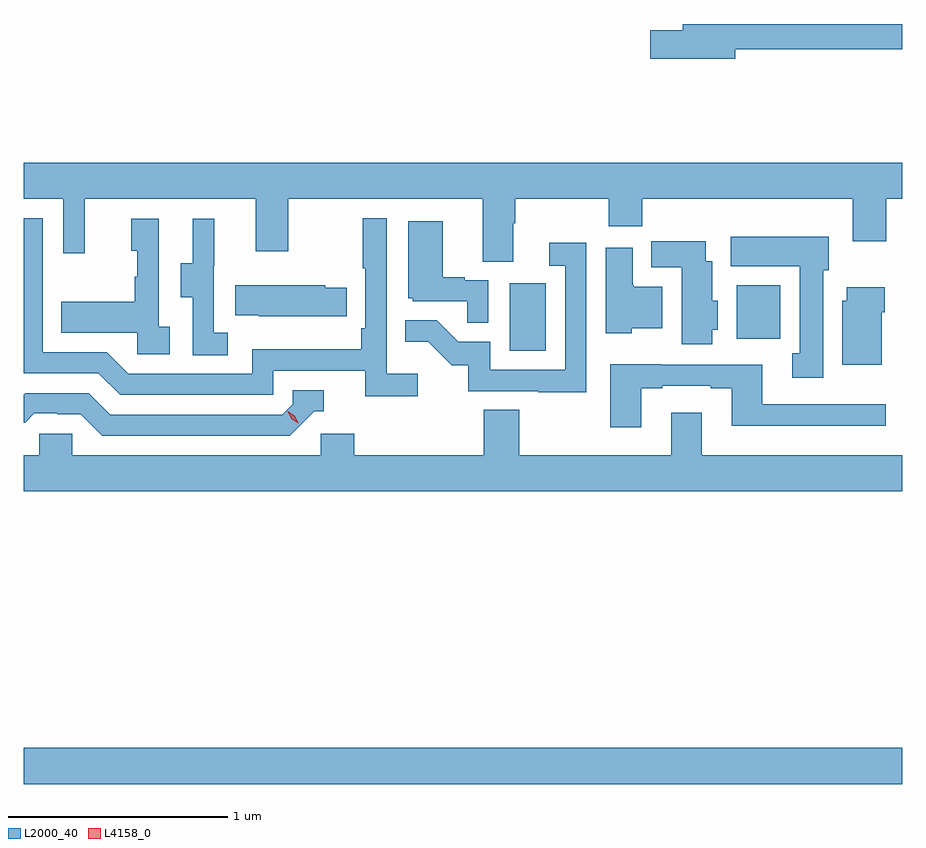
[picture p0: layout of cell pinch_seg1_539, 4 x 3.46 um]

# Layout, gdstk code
import gdstk
lib = gdstk.Library(unit=1e-6, precision=1e-09)
def R(c, l, rs):  # rectangles x0, y0, x1, y1
    for r in rs: c.add(gdstk.rectangle(r[:2], r[2:], *l))
def P(c, l, *ps):  # polygons
    for p in ps: c.add(gdstk.Polygon(p, *l))
L2000_40 = (2000, 40)
L4158_0 = (4158, 0)

pinch_seg1_539 = lib.new_cell('pinch_seg1_539')
R(pinch_seg1_539, L2000_40, [(1031.836,526.424,1035.836,526.588), (1034.048,528.396,1034.212,528.703), (1035.083,528.452,1035.28,528.694)])
P(pinch_seg1_539, L2000_40, [(1035.076,529.768),(1035.836,529.768),(1035.836,529.884),(1034.837,529.884),(1034.837,529.855),(1034.688,529.855),(1034.688,529.726),(1035.076,529.726)],
  [(1034.065,528.976),(1034.073,528.976),(1034.073,529.088),(1034.5,529.088),(1034.5,528.964),(1034.651,528.964),(1034.651,529.088),(1035.611,529.088),(1035.611,528.894),(1035.764,528.894),(1035.764,529.088),(1035.836,529.088),(1035.836,529.252),(1031.836,529.252),(1031.836,529.088),(1032.015,529.088),(1032.015,528.84),(1032.113,528.84),(1032.113,529.088),(1032.893,529.088),(1032.893,528.849),(1033.041,528.849),(1033.041,529.088),(1033.925,529.088),(1033.925,528.802),(1034.065,528.802)],
  [(1033.63,528.292),(1033.488,528.292),(1033.488,529),(1033.38,529),(1033.38,528.772),(1033.392,528.772),(1033.392,528.499),(1033.372,528.499),(1033.372,528.403),(1032.876,528.403),(1032.876,528.291),(1032.312,528.291),(1032.213,528.39),(1031.922,528.39),(1031.922,528.999),(1031.836,528.999),(1031.836,528.294),(1032.176,528.294),(1032.275,528.195),(1032.972,528.195),(1032.972,528.306),(1033.391,528.306),(1033.391,528.19),(1033.63,528.19)],
  [(1032.766,528.479),(1032.702,528.479),(1032.702,528.783),(1032.704,528.783),(1032.704,528.997),(1032.605,528.997),(1032.605,528.795),(1032.551,528.795),(1032.551,528.64),(1032.606,528.64),(1032.606,528.376),(1032.766,528.376)],
  [(1032.502,528.506),(1032.45,528.506),(1032.45,528.997),(1032.326,528.997),(1032.326,528.852),(1032.352,528.852),(1032.352,528.734),(1032.342,528.734),(1032.342,528.619),(1032.007,528.619),(1032.007,528.479),(1032.354,528.479),(1032.354,528.381),(1032.502,528.381)],
  [(1033.95,528.717),(1033.844,528.717),(1033.844,528.73),(1033.744,528.73),(1033.744,528.985),(1033.586,528.985),(1033.586,528.636),(1033.608,528.636),(1033.608,528.621),(1033.855,528.621),(1033.855,528.523),(1033.95,528.523)],
  [(1035.475,528.762),(1035.502,528.762),(1035.502,528.916),(1035.056,528.916),(1035.056,528.782),(1035.368,528.782),(1035.368,528.386),(1035.335,528.386),(1035.335,528.273),(1035.475,528.273)],
  [(1034.971,528.492),(1034.995,528.492),(1034.995,528.624),(1034.971,528.624),(1034.971,528.805),(1034.941,528.805),(1034.941,528.894),(1034.693,528.894),(1034.693,528.776),(1034.831,528.776),(1034.831,528.425),(1034.971,528.425)],
  [(1034.397,528.889),(1034.228,528.889),(1034.228,528.783),(1034.301,528.783),(1034.301,528.309),(1033.959,528.309),(1033.959,528.438),(1033.815,528.438),(1033.717,528.536),(1033.573,528.536),(1033.573,528.437),(1033.677,528.437),(1033.784,528.33),(1033.861,528.33),(1033.861,528.213),(1034.179,528.213),(1034.179,528.208),(1034.397,528.208)],
  [(1034.604,528.5),(1034.743,528.5),(1034.743,528.688),(1034.614,528.688),(1034.614,528.694),(1034.608,528.694),(1034.608,528.865),(1034.486,528.865),(1034.486,528.476),(1034.604,528.476)],
  [(1033.307,528.684),(1033.209,528.684),(1033.209,528.694),(1032.799,528.694),(1032.799,528.557),(1032.907,528.557),(1032.907,528.554),(1033.307,528.554)],
  [(1035.742,528.572),(1035.755,528.572),(1035.755,528.685),(1035.584,528.685),(1035.584,528.624),(1035.563,528.624),(1035.563,528.332),(1035.742,528.332)],
  [(1034.647,528.225),(1034.743,528.225),(1034.743,528.237),(1034.963,528.237),(1034.963,528.225),(1035.059,528.225),(1035.059,528.056),(1035.76,528.056),(1035.76,528.153),(1035.199,528.153),(1035.199,528.333),(1034.739,528.333),(1034.739,528.334),(1034.507,528.334),(1034.507,528.048),(1034.647,528.048)],
  [(1033.158,528.12),(1033.201,528.12),(1033.201,528.216),(1033.062,528.216),(1033.062,528.153),(1033.014,528.105),(1032.231,528.105),(1032.132,528.204),(1031.843,528.204),(1031.836,528.197),(1031.836,528.069),(1031.843,528.069),(1031.885,528.111),(1031.988,528.111),(1031.988,528.108),(1032.095,528.108),(1032.194,528.009),(1033.047,528.009)],
  [(1035.836,527.92),(1034.923,527.92),(1034.923,528.115),(1034.783,528.115),(1034.783,527.92),(1034.091,527.92),(1034.091,528.128),(1033.93,528.128),(1033.93,527.92),(1033.34,527.92),(1033.34,528.018),(1033.188,528.018),(1033.188,527.92),(1032.057,527.92),(1032.057,528.018),(1031.907,528.018),(1031.907,527.92),(1031.836,527.92),(1031.836,527.756),(1035.836,527.756)])
P(pinch_seg1_539, L4158_0, [(1033.085,528.067),(1033.055,528.087),(1033.039,528.119),(1033.039,528.12),(1033.039,528.12),(1033.07,528.1),(1033.085,528.067),(1033.085,528.067)])

lib.write_gds('pinch_seg1_539.gds')
